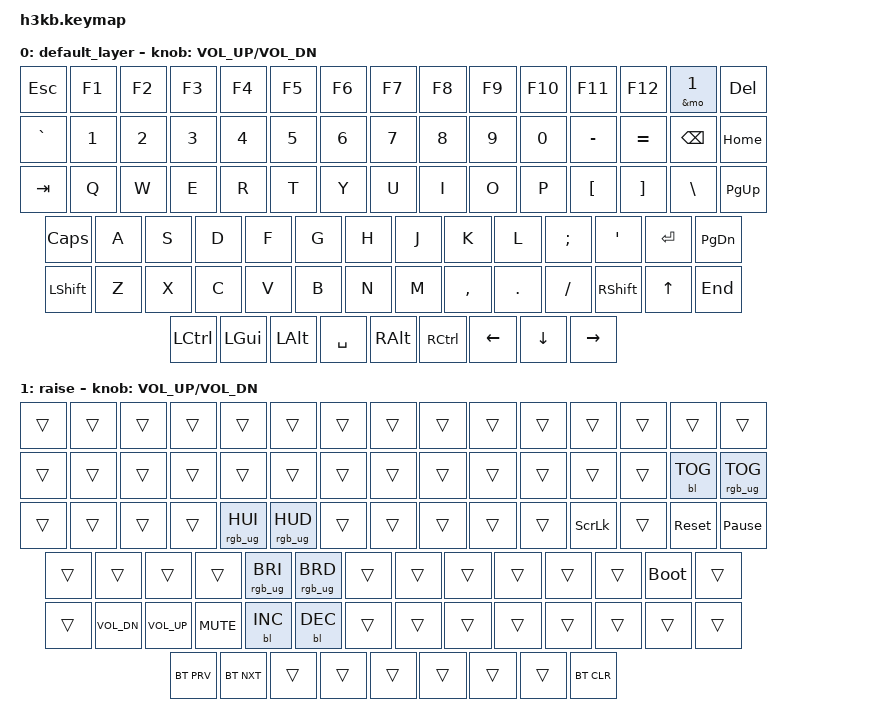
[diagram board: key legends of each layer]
/*
 * Copyright (c) 2020 The ZMK Contributors
 *
 * SPDX-License-Identifier: MIT
 */

#include <behaviors.dtsi>
#include <dt-bindings/zmk/keys.h>
#include <dt-bindings/zmk/bt.h>

#define ANSI

/ {
  chosen {
  #ifdef ANSI
    zmk,physical-layout = &layout_75_ansi;

 
  };

  keymap {
    compatible = "zmk,keymap";
    #ifdef ANSI
    default_layer {
        // ------------------------------------------------------------------------------------------------
        // | ESC | F1  | F2  | F3  | F4  | F5  | F6  | F7  | F9  | F9  | F10 | F11 | F12 |    FN    | DEL |
        // |GRAVE|  1  |  2  |  3  |  4  |  5  |  6  |  7  |  8  |  9  |  0  |  -  |  =  |   BSPC   | HOME|
        // | TAB   |  Q  |  W  |  E  |  R  |  T  |  Y  |  U  |  I  |  O  |  P  |  [  |  ]  |   \    | PGUP|
        // | CAPS   |  A  |  S  |  D  |  F  |  G  |  H  |  J  |  K  |  L  |  ;  |  '  |    ENTER    | PGDN|
        // |  SHIFT   |  Z  |  X  |  C  |  V  |  B  |  N  |  M  |  ,  |  .  |  /  |   SHIFT   | UP  | END |
        // |  CTL  |  WIN  |  ALT  |             SPACE                |  ALT  |  RCTRL  | LEFT| DOWN|RIGHT|
        // ------------------------------------------------------------------------------------------------
      bindings = <
        &kp ESC &kp F1 &kp F2 &kp F3 &kp F4 &kp F5 &kp F6 &kp F7 &kp  F8   &kp  F9 &kp  F10  &kp F11 &kp F12   &&mo 1 &kp DEL
        &kp GRAVE &kp N1 &kp N2 &kp N3 &kp N4 &kp N5 &kp N6 &kp N7 &kp  N8   &kp  N9   &kp N0 &kp MINUS &kp EQUAL &kp BSPC &kp HOME
        &kp TAB   &kp Q  &kp W  &kp E  &kp R  &kp T  &kp Y  &kp U  &kp  I    &kp  O  &kp  P   &kp LBKT &kp RBKT &kp BSLH &kp PG_UP
        &kp CLCK   &kp A  &kp S  &kp D  &kp F  &kp G  &kp H  &kp J  &kp  K    &kp  L  &kp SEMI &kp SQT         &kp RET &kp PG_DN
        &kp LSHFT     &kp Z  &kp X  &kp C  &kp V  &kp B  &kp N  &kp M  &kp COMMA &kp DOT &kp FSLH   &kp RSHFT   &kp UP &kp END
        &kp LCTRL &kp LGUI &kp LALT            &kp SPACE                   &kp RALT   &kp RCTRL &kp LEFT &kp DOWN &kp RIGHT
      >;
      sensor-bindings = <&inc_dec_kp C_VOL_UP C_VOL_DN>;
    };
    raise {
        // --------------------------------------------------------------------------------------------------
        // | ESC | F1  | F2  | F3  | F4  | F5  | F6  | F7  | F9  | F9  | F10 | F11 | F12 |    FN    | DEL |
        // |GRAVE|  1  |  2  |  3  |  4  |  5  |  6  |  7  |  8  |  9  |  0  |  -  |  =  |  BL_TOG  |RGB_TOG|
        // | TAB  |  Q  |  W  |  E  | HUI | HUD |  Y  |  U  |  I  |  O  |  P  | SLCK|  ]  |  RESET  | P_BRK|
        // | CAPS  |  A  |  S  |  D  | BRI | BRD |  H  |  J  |  K  |  L  |  ;  |  '  |     BOOT     | PG_UP|
        // |  SHIFT   |VOLDN|VOLUP| MUTE|BLINC|BLDEC|  N  |  M  |  ,  |  .  |  /  |    SHIFT  | UP  | PG_DN|
        // | BT_PRV| BT_NXT|  ALT  |             SPACE                |  ALT  |  RCTRL  | LEFT| DOWN|BT_CLR|
        // --------------------------------------------------------------------------------------------------
      bindings = <
        &trans &trans &trans &trans &trans &trans &trans &trans &trans &trans &trans &trans &trans &trans &trans 
        &trans &trans &trans &trans &trans &trans &trans &trans &trans &trans &trans &trans &trans &bl BL_TOG &rgb_ug RGB_TOG
        &trans &trans &trans &trans &rgb_ug RGB_HUI &rgb_ug RGB_HUD &trans &trans &trans &trans &trans &kp SLCK &trans &sys_reset &kp PAUSE_BREAK
        &trans    &trans &trans &trans &rgb_ug RGB_BRI &rgb_ug RGB_BRD &trans &trans &trans &trans &trans  &trans   &bootloader &trans
        &trans &kp C_VOL_DN &kp C_VOL_UP &kp C_MUTE &bl BL_INC &bl BL_DEC &trans &trans &trans &trans &trans  &trans &trans &trans
        &bt BT_PRV &bt BT_NXT  &trans              &trans                            &trans   &trans   &trans &trans   &bt BT_CLR
      >;
      sensor-bindings = <&inc_dec_kp C_VOL_UP C_VOL_DN>;
    };

    };
    #else
    #error "Layout not defined, please define a layout by uncommenting the appropriate line in h3kb.keymap"
    #endif

  };
};
